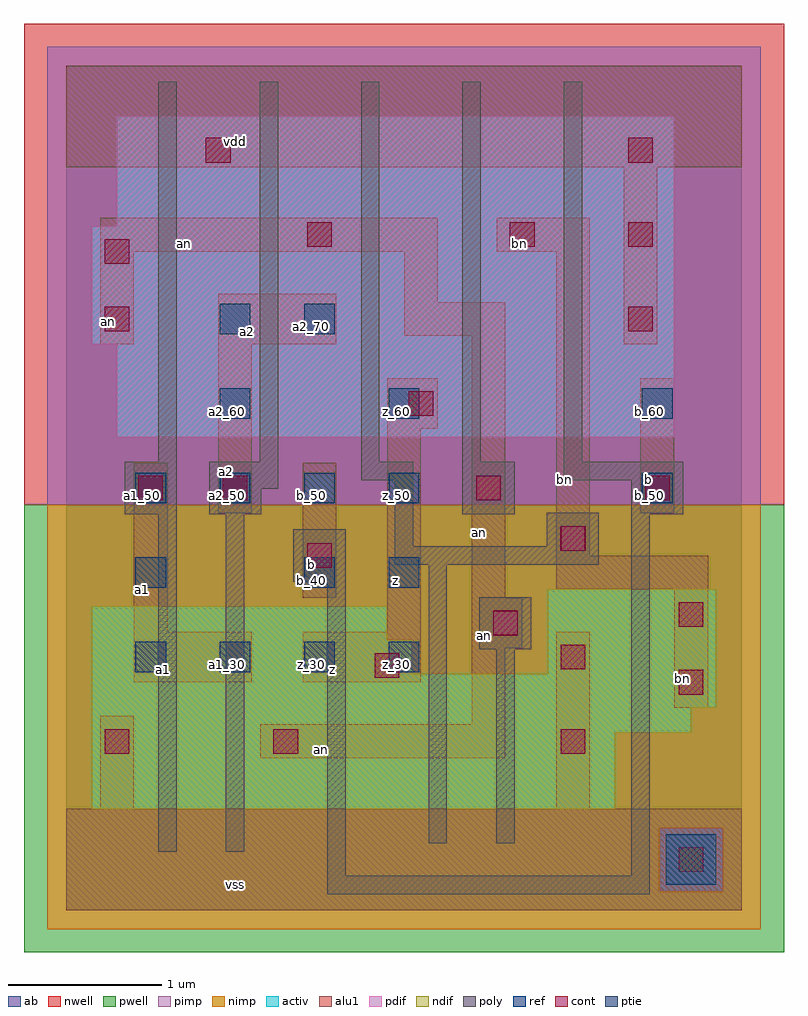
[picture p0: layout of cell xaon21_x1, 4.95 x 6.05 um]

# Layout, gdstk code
import gdstk
lib = gdstk.Library(unit=1e-6, precision=2.5e-09)
def R(c, l, rs):  # rectangles x0, y0, x1, y1
    for r in rs: c.add(gdstk.rectangle(r[:2], r[2:], *l))
def A(c, l, x, y, w, h, nx, ny, dx, dy):  # array of equal rectangles
    R(c, l, [(x+i*dx, y+j*dy, x+i*dx+w, y+j*dy+h) for i in range(nx) for j in range(ny)])
ndif = (3, 0)
pdif = (4, 0)
ptie = (6, 0)
ref = (24, 0)
cont = (25, 0)
pwell = (41, 0)
nwell = (42, 0)
activ = (43, 0)
pimp = (44, 0)
nimp = (45, 0)
poly = (46, 0)
alu1 = (49, 0)
ab = (63, 0)

xaon21_x1 = lib.new_cell('xaon21_x1')
R(xaon21_x1, ndif, [(0.165,0.66,3.575,1.155), (0.165,1.155,4.07,1.32), (0.165,1.32,4.235,1.54), (0.165,1.54,2.255,1.76), (3.135,1.54,4.235,2.09), (0.165,1.76,2.09,1.98)])
R(xaon21_x1, pdif, [(0.33,3.08,3.96,3.685), (0.165,3.685,3.96,4.455), (0.33,4.455,3.96,5.17)])
R(xaon21_x1, ptie, [(3.905,0.165,4.235,0.495)])
A(xaon21_x1, ref, 0.45, 1.55, 0.2, 0.2, 4, 2, 0.55, 1.1)
R(xaon21_x1, ref, [(0.45,2.1,0.65,2.3), (1.55,2.1,1.75,2.3), (2.1,2.1,2.3,2.3), (3.75,2.65,3.95,2.85), (1,3.2,1.2,3.4), (2.1,3.2,2.3,3.4), (3.75,3.2,3.95,3.4), (1,3.75,1.2,3.95), (1.55,3.75,1.75,3.95)])
A(xaon21_x1, cont, 3.66, 3.77, 0.16, 0.16, 1, 3, 0, 0.55)
R(xaon21_x1, cont, [(3.99,0.25,4.15,0.41), (0.25,1.02,0.41,1.18), (1.35,1.02,1.51,1.18), (3.22,1.02,3.38,1.18), (3.99,1.405,4.15,1.565), (2.01,1.515,2.17,1.675), (3.22,1.57,3.38,1.73), (2.78,1.79,2.94,1.95), (3.99,1.845,4.15,2.005), (1.57,2.23,1.73,2.39), (3.22,2.34,3.38,2.5), (0.47,2.67,0.63,2.83), (1.02,2.67,1.18,2.83), (2.67,2.67,2.83,2.83), (3.77,2.67,3.93,2.83), (2.23,3.22,2.39,3.38), (0.25,3.77,0.41,3.93), (0.25,4.21,0.41,4.37), (1.57,4.32,1.73,4.48), (2.89,4.32,3.05,4.48), (0.91,4.87,1.07,5.03)])
R(xaon21_x1, pwell, [(-0.275,-0.275,4.675,2.64)])
R(xaon21_x1, nwell, [(-0.275,2.64,4.675,5.775)])
R(xaon21_x1, activ, [(3.905,0.165,4.235,0.495), (0.165,0.66,3.575,1.155), (0.165,1.155,4.07,1.32), (0.165,1.32,4.235,1.54), (0.165,1.54,2.255,1.76), (3.135,1.54,4.235,2.09), (0.165,1.76,2.09,1.98), (0.33,3.08,3.96,3.685), (0.165,3.685,3.96,4.455), (0.33,4.455,3.96,5.17)])
R(xaon21_x1, pimp, [(3.865,0.125,4.275,0.535), (-0.125,2.64,4.525,5.625)])
R(xaon21_x1, nimp, [(-0.125,-0.125,4.525,0.125), (-0.125,0.125,3.865,0.535), (4.275,0.125,4.525,0.535), (-0.125,0.535,4.525,2.64)])
A(xaon21_x1, poly, 0.6, 2.92, 0.12, 2.475, 5, 1, 0.66, 0)
R(xaon21_x1, poly, [(1.7,0.105,3.8,0.225), (1.7,0.225,1.82,2.14), (3.68,0.225,3.8,2.58), (0.6,0.38,0.72,2.58), (1.04,0.38,1.16,2.58), (2.36,0.435,2.48,2.25), (2.8,0.435,2.92,1.7), (2.69,1.7,3.03,2.04), (1.48,2.14,1.82,2.48), (2.14,2.25,3.47,2.37), (2.14,2.37,2.26,2.8), (3.13,2.37,3.47,2.59), (0.38,2.58,0.72,2.92), (0.93,2.58,1.27,2.745), (2.58,2.58,2.92,2.92), (3.68,2.58,4.02,2.8), (0.93,2.745,1.38,2.92), (1.92,2.8,2.26,2.92), (3.24,2.8,4.02,2.92)])
R(xaon21_x1, alu1, [(0,0,4.4,0.66), (0.22,0.66,0.44,1.265), (3.19,0.66,3.41,1.815), (1.265,0.99,2.86,1.21), (2.64,1.21,2.86,1.705), (3.96,1.32,4.18,2.09), (0.44,1.485,1.21,1.815), (1.54,1.485,2.31,1.815), (2.64,1.705,2.97,2.035), (0.44,1.815,0.66,2.915), (2.09,1.815,2.31,3.135), (1.54,2.035,1.76,2.915), (2.64,2.035,2.86,3.74), (3.19,2.09,4.18,2.31), (3.19,2.31,3.41,4.29), (0.99,2.585,1.21,3.685), (3.74,2.585,3.96,3.465), (2.09,3.135,2.42,3.465), (0.22,3.685,0.44,4.29), (0.99,3.685,1.76,4.015), (3.63,3.685,3.85,4.84), (2.2,3.74,2.86,3.96), (2.2,3.96,2.42,4.29), (0.22,4.29,2.42,4.51), (2.805,4.29,3.41,4.51), (0,4.84,4.4,5.5)])
R(xaon21_x1, ab, [(0,0,4.4,5.5)])
xaon21_x1.add(gdstk.Label('vss', (1.1,0.165), layer=49, texttype=0))
xaon21_x1.add(gdstk.Label('bn', (4.015,1.5125), layer=49, texttype=0))
xaon21_x1.add(gdstk.Label('an', (1.6625,1.045), layer=49, texttype=0))
xaon21_x1.add(gdstk.Label('an', (2.7225,1.7875), layer=49, texttype=0))
xaon21_x1.add(gdstk.Label('b', (3.795,2.805), layer=49, texttype=0))
xaon21_x1.add(gdstk.Label('bn', (3.245,2.805), layer=49, texttype=0))
xaon21_x1.add(gdstk.Label('an', (2.695,2.46), layer=49, texttype=0))
xaon21_x1.add(gdstk.Label('z', (1.7325,1.5675), layer=49, texttype=0))
xaon21_x1.add(gdstk.Label('a1', (0.6325,1.5675), layer=49, texttype=0))
xaon21_x1.add(gdstk.Label('z', (2.145,2.145), layer=49, texttype=0))
xaon21_x1.add(gdstk.Label('b', (1.595,2.255), layer=49, texttype=0))
xaon21_x1.add(gdstk.Label('a2', (1.045,2.86), layer=49, texttype=0))
xaon21_x1.add(gdstk.Label('a1', (0.495,2.09), layer=49, texttype=0))
xaon21_x1.add(gdstk.Label('a2', (1.1825,3.7675), layer=49, texttype=0))
xaon21_x1.add(gdstk.Label('an', (0.275,3.835), layer=49, texttype=0))
xaon21_x1.add(gdstk.Label('bn', (2.955,4.345), layer=49, texttype=0))
xaon21_x1.add(gdstk.Label('an', (0.77,4.345), layer=49, texttype=0))
xaon21_x1.add(gdstk.Label('vdd', (1.1,5.005), layer=49, texttype=0))
xaon21_x1.add(gdstk.Label('b_40', (1.6,2.15), layer=24, texttype=0))
xaon21_x1.add(gdstk.Label('b_60', (3.8,3.25), layer=24, texttype=0))
xaon21_x1.add(gdstk.Label('b_50', (1.6,2.7), layer=24, texttype=0))
xaon21_x1.add(gdstk.Label('b_50', (3.8,2.7), layer=24, texttype=0))
xaon21_x1.add(gdstk.Label('a2_60', (1.05,3.25), layer=24, texttype=0))
xaon21_x1.add(gdstk.Label('z_30', (2.15,1.6), layer=24, texttype=0))
xaon21_x1.add(gdstk.Label('z_60', (2.15,3.25), layer=24, texttype=0))
xaon21_x1.add(gdstk.Label('a1_30', (1.05,1.6), layer=24, texttype=0))
xaon21_x1.add(gdstk.Label('z_30', (1.6,1.6), layer=24, texttype=0))
xaon21_x1.add(gdstk.Label('a1_40', (0.5,2.15), layer=24, texttype=0))
xaon21_x1.add(gdstk.Label('a1_30', (0.5,1.6), layer=24, texttype=0))
xaon21_x1.add(gdstk.Label('a1_50', (0.5,2.7), layer=24, texttype=0))
xaon21_x1.add(gdstk.Label('a2_50', (1.05,2.7), layer=24, texttype=0))
xaon21_x1.add(gdstk.Label('a2_70', (1.05,3.8), layer=24, texttype=0))
xaon21_x1.add(gdstk.Label('a2_70', (1.6,3.8), layer=24, texttype=0))
xaon21_x1.add(gdstk.Label('z_50', (2.15,2.7), layer=24, texttype=0))
xaon21_x1.add(gdstk.Label('z_40', (2.15,2.15), layer=24, texttype=0))

lib.write_gds('xaon21_x1.gds')
